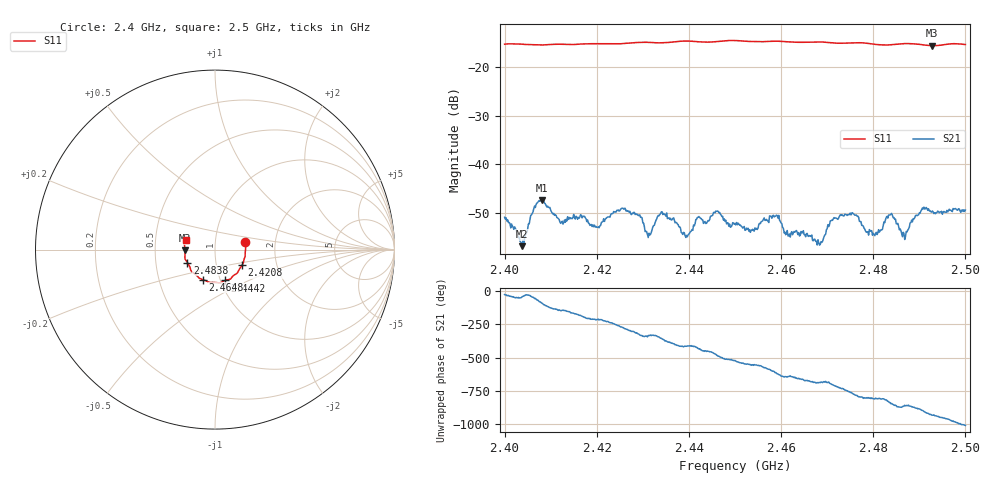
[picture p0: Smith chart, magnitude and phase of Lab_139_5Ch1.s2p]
# Hz S RI R 50
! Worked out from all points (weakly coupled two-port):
!   601 points, 2.4 GHz to 2.5 GHz, reference 50 ohm
!   highest |S21| = -47.42 dB at 2.4082 GHz (marker M1); lowest = -56.9 dB at 2.4038 GHz (marker M2)
!   lowest |S11| = -15.6 dB at 2.4928 GHz (marker M3), VSWR 1.40, Z = 35.8 - j0.35 ohm
!   |S11| at or under -10 dB: start of sweep to end of sweep
!   S12 and S22 are empty: the file has one direction only
!   S11 on the Smith chart (normalised r, x): 2.4 GHz: 1.40, +0.12; 2.4208 GHz: 1.33, -0.24; 2.4442 GHz: 1.05, -0.37; 2.4648 GHz: 0.83, -0.29; 2.4838 GHz: 0.73, -0.11; 2.5 GHz: 0.72, +0.08
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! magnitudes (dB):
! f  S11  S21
! 2.4 GHz  -15.3  -50.9
! 2.4038 GHz  -15.3  -56.9
! 2.4082 GHz  -15.4  -47.4
! 2.4123 GHz  -15.3  -51.9
! 2.4167 GHz  -15.2  -50.5
! 2.4208 GHz  -15.2  -52.6
! 2.4257 GHz  -15.2  -49.0
! 2.4313 GHz  -14.9  -54.2
! 2.4333 GHz  -15.0  -50.6
! 2.4395 GHz  -14.6  -54.7
! 2.4442 GHz  -14.9  -51.6
! 2.45 GHz  -14.5  -52.2
! 2.4587 GHz  -14.7  -50.7
! 2.4648 GHz  -14.9  -53.7
! 2.4667 GHz  -14.8  -54.6
! 2.4753 GHz  -15.0  -50.0
! 2.4803 GHz  -15.3  -54.7
! 2.4833 GHz  -15.4  -50.5
! 2.4838 GHz  -15.4  -50.3
! 2.4867 GHz  -15.2  -54.3
! 2.4928 GHz  -15.6  -49.6
! 2.5 GHz  -15.3  -49.4
